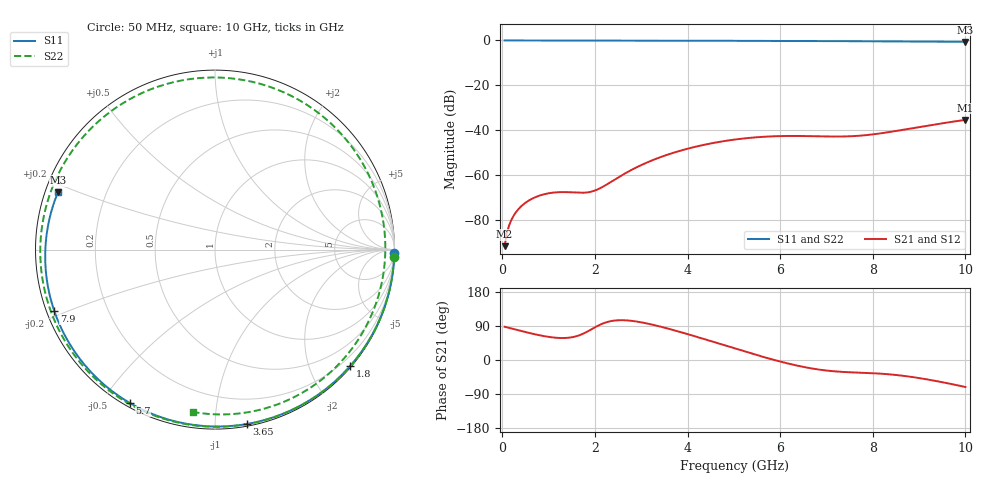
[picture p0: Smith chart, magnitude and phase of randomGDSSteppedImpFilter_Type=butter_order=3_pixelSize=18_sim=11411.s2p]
! freq	dB(S11)	phase(S11)	dB(S12)	phase(S12)
!  dB(S21)	phase(S21)	dB(S22)	phase(S22)
!S-par simulation data
#  GHz  S  DB  R 50
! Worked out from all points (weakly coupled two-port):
!   200 points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, 50 MHz to 10 GHz, reference 50 ohm
!   highest |S21| = -35.45 dB at 10 GHz (marker M1); lowest = -91.9 dB at 50 MHz (marker M2)
!   lowest |S11| = -0.6 dB at 10 GHz (marker M3), VSWR 28.18, Z = 1.83 + j8.83 ohm
!   |S11| at or under -10 dB: nowhere
!   |S22| runs from -0.8 to 0.0 dB; largest |S21 - S12| = 0
!   S11 on the Smith chart (normalised r, x): 50 MHz: 0, -98; 1.8 GHz: 0.02, -2.69; 3.65 GHz: 0.01, -1.20; 5.7 GHz: 0.02, -0.59; 7.9 GHz: 0.02, -0.18; 10 GHz: 0.04, +0.18
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0.05  -0.00 -1.2  -91.88 87.8  -91.88 87.8  -0.01 -2.3
0.2  -0.01 -4.6  -79.98 83.2  -79.98 83.2  -0.01 -9.1
0.45  -0.01 -10.4  -73.30 75.3  -73.30 75.3  -0.02 -20.4
0.8  -0.02 -18.4  -69.32 65.4  -69.32 65.4  -0.04 -36.0
1.3  -0.04 -29.7  -67.72 58.0  -67.72 58.0  -0.07 -58.1
1.75  -0.05 -39.6  -68.02 69.6  -68.02 69.6  -0.10 -77.7
1.8  -0.05 -40.7  -67.96 72.6  -67.96 72.6  -0.10 -79.8
2.1  -0.06 -47.3  -66.12 92.5  -66.12 92.5  -0.11 -92.7
2.55  -0.07 -57.0  -60.61 105.1  -60.61 105.1  -0.14 -111.9
3.4  -0.10 -74.6  -52.23 88.6  -52.23 88.6  -0.19 -148.4
3.65  -0.11 -79.7  -50.46 80.5  -50.46 80.5  -0.20 -159.3
4.35  -0.13 -93.5  -46.64 55.6  -46.64 55.6  -0.25 169.0
4.7  -0.15 -100.3  -45.26 42.5  -45.26 42.5  -0.28 152.3
5.05  -0.16 -106.9  -44.18 29.4  -44.18 29.4  -0.30 135.1
5.7  -0.20 -119.0  -42.96 5.9  -42.96 5.9  -0.35 101.4
6.2  -0.23 -128.2  -42.65 -10.1  -42.65 -10.1  -0.38 74.5
6.7  -0.26 -137.3  -42.76 -22.6  -42.76 -22.6  -0.40 47.5
7.3  -0.31 -148.2  -42.91 -31.1  -42.91 -31.1  -0.43 16.0
7.9  -0.37 -159.2  -42.19 -34.3  -42.19 -34.3  -0.47 -13.4
8.35  -0.41 -167.5  -40.93 -37.7  -40.93 -37.7  -0.52 -33.7
9.15  -0.51 177.1  -38.17 -50.7  -38.17 -50.7  -0.62 -66.5
10  -0.62 159.9  -35.45 -71.3  -35.45 -71.3  -0.80 -97.9
